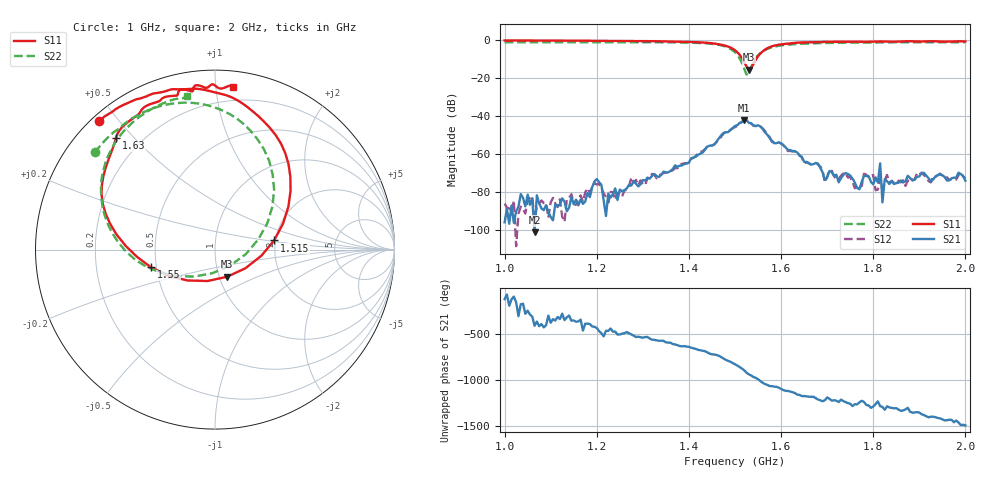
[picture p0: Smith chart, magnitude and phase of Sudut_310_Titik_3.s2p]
# Hz S RI R 50
! CMT, C1220, 16058040, 17.2.0/1
! Date: 14/08/2018 12:41:27
! Data: Format (Calibration Info)
! Freq  S11: Re/Im (F2)  S21: Re/Im (F2)  S12: Re/Im (F2)  S22: Re/Im (F2)
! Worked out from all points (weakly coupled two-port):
!   201 points, 1 GHz to 2 GHz, reference 50 ohm
!   highest |S21| = -42.15 dB at 1.52 GHz (marker M1); lowest = -101.3 dB at 1.065 GHz (marker M2)
!   lowest |S11| = -15.6 dB at 1.53 GHz (marker M3), VSWR 1.40, Z = 54.5 - j17 ohm
!   |S11| at or under -10 dB: 1.516 GHz to 1.546 GHz (30.22 MHz wide, 1.97 % of centre)
!   |S22| runs from -18.2 to -1.2 dB; largest |S21 - S12| = 0.00036
!   S11 on the Smith chart (normalised r, x): 1 GHz: 0.02, +0.44; 1.515 GHz: 1.97, +0.23; 1.55 GHz: 0.47, -0.11; 1.63 GHz: 0.11, +0.44; 2 GHz: 0.10, +1.11
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1e9  -0.6479 0.7137  -9.37e-06 -1.28e-05  4.82e-05 -1.02e-05  -0.6708 0.5413
1.065e9  -0.5811 0.7626  5.11e-06 -6.94e-06  9.54e-06 -1.62e-05  -0.6343 0.5851
1.17e9  -0.4736 0.8224  -1.36e-05 -4.68e-05  3.79e-05 -4e-05  -0.5583 0.6586
1.335e9  -0.2117 0.8931  -0.0002 0.000144  -0.000254 0.000109  -0.3738 0.7759
1.45e9  0.1852 0.7908  0.00165 -4.78e-05  0.00165 -0.000163  0.0193 0.7846
1.5e9  0.421 0.3279  -0.00186 -0.00507  -0.00178 -0.00472  0.3293 0.3361
1.515e9  0.3296 0.0513  -0.00624 -0.00286  -0.00632 -0.00308  0.2408 0.0562
1.52e9  0.259 -0.0336  -0.00777 -0.00078  -0.00788 -0.000835  0.1716 -0.0254
1.53e9  0.0678 -0.1514  -0.00519 0.00404  -0.00524 0.00406  -0.0144 -0.1315
1.55e9  -0.3567 -0.0985  5.29e-05 0.00567  -0.00014 0.00565  -0.3801 -0.0969
1.63e9  -0.5523 0.6214  0.000599 -0.00102  0.000614 -0.000971  -0.616 0.4642
1.67e9  -0.4375 0.7451  -8.34e-05 -0.000531  -0.000103 -0.00056  -0.5641 0.583
1.695e9  -0.404 0.7849  -0.000153 -0.000137  -0.000162 -7.21e-05  -0.5314 0.6314
1.705e9  -0.38 0.8021  -0.000188 -0.000303  -0.000215 -0.000301  -0.5175 0.649
1.77e9  -0.2362 0.856  -0.000111 -3.99e-05  -0.000133 -1.62e-05  -0.434 0.7295
1.78e9  -0.215 0.8578  -0.000242 -0.000106  -0.000268 -0.000137  -0.4214 0.7392
1.81e9  -0.1909 0.8907  -0.000152 -9.04e-05  -1.44e-05 -0.000115  -0.3847 0.7648
1.815e9  -0.1815 0.8922  -0.000522 0.00021  -0.000219 1.73e-05  -0.3786 0.7682
1.82e9  -0.1689 0.8915  -4.63e-05 2.62e-05  -0.000118 1.22e-05  -0.3727 0.7717
1.83e9  -0.1431 0.8853  -0.000177 7.6e-05  -0.000217 0.000174  -0.361 0.7786
1.835e9  -0.1331 0.8825  -0.000133 9.2e-05  -0.000107 0.00013  -0.3552 0.7821
2e9  0.1016 0.9067  0.000127 -0.00015  0.00016 -0.000168  -0.1563 0.854
